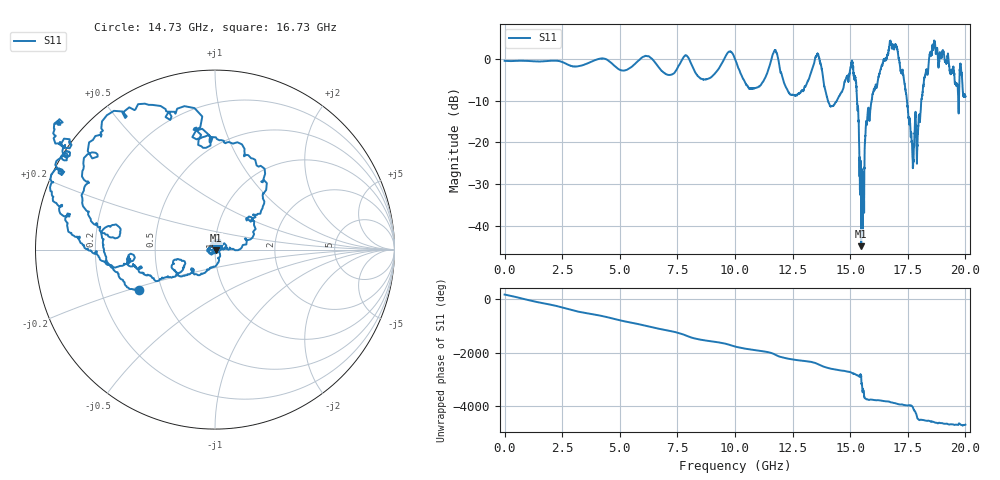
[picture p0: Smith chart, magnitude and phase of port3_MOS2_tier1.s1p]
! Created with skrf 1.8.0 (http://scikit-rf.org).
# GHz S RI R 50.0
!freq ReS11 ImS11
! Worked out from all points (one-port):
!   10001 points, 1 MHz to 20 GHz, reference 50 ohm
!   lowest |S11| = -44.9 dB at 15.48 GHz (marker M1), VSWR 1.01, Z = 50.4 - j0.359 ohm
!   |S11| at or under -10 dB: 14.04 GHz to 14.42 GHz (384.5 MHz wide, 2.7 % of centre); 15.3 GHz to 15.93 GHz (633.9 MHz wide, 4.06 % of centre); 17.46 GHz to 18.08 GHz (620.7 MHz wide, 3.49 % of centre) (the widest 3 of 4)
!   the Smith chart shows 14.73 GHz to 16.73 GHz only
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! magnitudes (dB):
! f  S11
! 1 MHz  -0.4
! 2.501 GHz  -0.7
! 5.001 GHz  -2.6
! 6.161 GHz  0.8
! 7.501 GHz  -2.2
! 7.895 GHz  0.9
! 8.729 GHz  -4.9
! 10 GHz  0.1
! 10.8 GHz  -7.0
! 11.75 GHz  2.1
! 12.5 GHz  -8.5
! 13.03 GHz  -6.5
! 13.56 GHz  1.0
! 14.18 GHz  -11.3
! 15 GHz  -2.4
! 15.15 GHz  -3.5
! 15.27 GHz  -7.6
! 15.48 GHz  -44.9
! 15.56 GHz  -28.4
! 15.76 GHz  -12.5
! 16.76 GHz  4.0
! 17.04 GHz  2.4
! 17.5 GHz  -11.7
! 17.68 GHz  -19.9
! 17.81 GHz  -14.9
! 18.23 GHz  -4.4
! 18.66 GHz  4.0
! 20 GHz  -8.9
